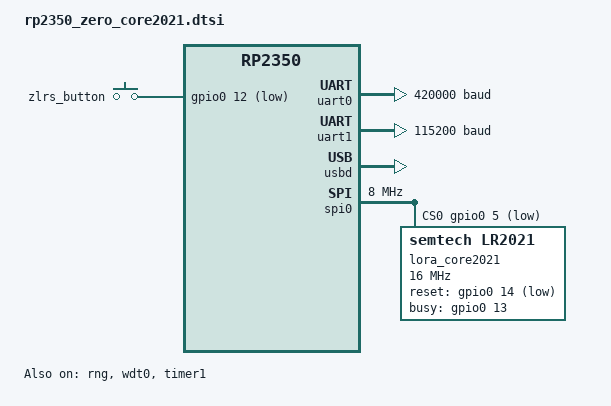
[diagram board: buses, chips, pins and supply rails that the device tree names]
/*
 * Board definition for the Waveshare RP2350-Zero (RP2350A, 4 MB flash) plus the Waveshare
 * Core2021 (LR2021). Wiring and part choices: README.md in this directory.
 *
 * SPDX-License-Identifier: Apache-2.0
 */

#include <freq.h>

#include <zephyr/dt-bindings/dma/rpi-pico-dma-rp2350.h>
#include <zephyr/dt-bindings/gpio/gpio.h>
#include <zephyr/dt-bindings/led/led.h>

#include "rp2350_zero_core2021-pinctrl.dtsi"

/ {
	chosen {
		zephyr,sram = &sram0;
		zephyr,flash = &flash0;
		zephyr,flash-controller = &qmi;
		/* Console off by default: it only exists once the debug overlay enables cdc_acm_uart3 */
		zephyr,console = &cdc_acm_uart3;
		zephyr,shell-uart = &cdc_acm_uart3;
		zephyr,lorawan-transceiver = &lora_core2021;
		/* Entropy comes from the zlrs TRNG driver (bounded waits, no interrupt masking; drivers/entropy) */
		zephyr,entropy = &rng;
		/* Each variant sets zephyr,code-partition itself: code without a bootloader, slot0 with one
		 * (see the partition table in this directory's README) */
	};
	aliases {
		lora-transceiver = &lora_core2021;
		zlrs-control-uart = &uart0;
		zlrs-data-uart = &uart1;
		zlrs-control-cdc = &cdc_acm_uart0;
		zlrs-data-cdc = &cdc_acm_uart1;
		zlrs-mgmt-cdc = &cdc_acm_uart2;
		zlrs-button = &zlrs_button;
		zlrs-led = &zlrs_led;
		led-strip = &zlrs_led;
		watchdog0 = &wdt0;
		zlrs-slot-timer = &timer1;
		/* The vendor USP samples (packet_error_rate_flrc and friends) expect this alias */
		smtc-user-button = &zlrs_button;
	};

	buttons {
		compatible = "gpio-keys";

		zlrs_button: zlrs-button {
			gpios = <&gpio0 12 (GPIO_PULL_UP | GPIO_ACTIVE_LOW)>;
		};
	};

};

/*
 * RP2350 TRNG: the SoC's rng@400f0000 node (reg gives the block base) is switched to the zlrs
 * driver. The one in the Zephyr tree that binds `raspberrypi,pico-rng` goes through pico-sdk's
 * interrupt-off busy wait and stops USB, see the header of drivers/entropy/rp2350_trng.c.
 */
&rng {
	compatible = "zlrs,rp2350-trng";
	status = "okay";
};

&gpio0 {
	status = "okay";
};

/*
 * Hardware watchdog (RP2350 wdt0): armed when the application starts and fed from the main
 * loop. A crash or a stuck thread resets the chip, which MCUboot's test/revert turns into a
 * rollback, and with nothing left to boot it stops in serial recovery: no BOOTSEL needed.
 * See doc/08-firmware.md 6.
 */
&wdt0 {
	status = "okay";
};

/* CRSF: GP0 = TX / GP1 = RX, to the handset or flight controller; 420000 is CRSF's baud rate */
&uart0 {
	status = "okay";
	current-speed = <420000>;
	pinctrl-0 = <&uart0_default>;
	pinctrl-names = "default";
};

/* Data port: passthrough, GP8 = TX / GP9 = RX */
&uart1 {
	status = "okay";
	current-speed = <115200>;
	pinctrl-0 = <&zlrs_uart1_default>;
	pinctrl-names = "default";
};

/* RP2350 hardware TRNG feeding the CSPRNG */
&rng {
	status = "okay";
};

/* DMA channels: SPI0 TX/RX = 0/1, status LED TX = 2. */
&dma {
	status = "okay";
};

/*
 * The on-board WS2812B (GP16, one pixel) is the status LED, see doc/11-ux.md: driven through
 * PIO0, wired the same way as upstream waveshare/rp2350_zero.
 */
&pio0 {
	status = "okay";

	pio-ws2812 {
		compatible = "worldsemi,ws2812-rpi_pico-pio";
		status = "okay";
		pinctrl-0 = <&ws2812_pio0_default>;
		pinctrl-names = "default";
		bit-waveform = <3>, <3>, <4>;

		zlrs_led: ws2812 {
			status = "okay";
			gpios = <&gpio0 16 GPIO_ACTIVE_HIGH>;
			chain-length = <1>;
			dmas = <&dma 2 RPI_PICO_DMA_SLOT_PIO0_TX0 0>;
			dma-names = "tx";
			/*
			 * The WS2812B's physical byte order is GRB, so declare it the way the part expects, or red and
			 * green swap (measured: red shows green, blue shows purple). Upstream waveshare rp2350_zero
			 * writes RGB and falls into the same trap.
			 */
			color-mapping = <LED_COLOR_ID_GREEN
					 LED_COLOR_ID_RED
					 LED_COLOR_ID_BLUE>;
			reset-delay = <280>;
			frequency = <DT_FREQ_K(800)>;
		};
	};
};

/*
 * The CDCs on USB (doc/08-firmware.md 1):
 *   cdc_acm_uart0 = CRSF (alias zlrs-control-cdc)
 *   cdc_acm_uart1 = data port (alias zlrs-data-cdc)
 *   cdc_acm_uart2 = management port (alias zlrs-mgmt-cdc): management protocol, enter management mode
 *   cdc_acm_uart3 = console (kernel log + shell): off by default, the debug overlay enables it
 *
 * The first two are the links' USB endpoints and compete with their UARTs (app/src/ports/serial.c);
 * the management port and console exist on USB only.
 */
zephyr_udc0: &usbd {
	status = "okay";

	cdc_acm_uart0: cdc_acm_uart0 {
		compatible = "zephyr,cdc-acm-uart";
		label = "zlrs CONTROL";
	};

	cdc_acm_uart1: cdc_acm_uart1 {
		compatible = "zephyr,cdc-acm-uart";
		label = "zlrs DATA";
	};

	cdc_acm_uart2: cdc_acm_uart2 {
		compatible = "zephyr,cdc-acm-uart";
		label = "zlrs CONFIG";
	};

	cdc_acm_uart3: cdc_acm_uart3 {
		compatible = "zephyr,cdc-acm-uart";
		label = "zlrs CONSOLE";
		status = "disabled";
	};
};

/* 4 MB QSPI flash. The layout is not in the common dtsi: each variant's dts includes
 * rp2350_zero_core2021_partitions.dtsi, which is the flash map the application and the bootloader
 * are both built with (see the README). */
&flash0 {
	reg = <0x10000000 DT_SIZE_M(4)>;
};

&spi0 {
	status = "okay";
	dmas = <&dma 0 RPI_PICO_DMA_SLOT_SPI0_TX 0>,
	       <&dma 1 RPI_PICO_DMA_SLOT_SPI0_RX 0>;
	dma-names = "tx", "rx";
	clock-frequency = <DT_FREQ_M(8)>;
	pinctrl-0 = <&zlrs_spi0_default>;
	pinctrl-names = "default";
	cs-gpios = <&gpio0 5 GPIO_ACTIVE_LOW>;

	lora_core2021: lora@0 {
		reg = <0>;
		compatible = "semtech,lr2021";
		spi-max-frequency = <DT_FREQ_M(16)>;

		// Board-specific offset
		tx-power-offset = <0>;

		// RX boost offset, from 0 (no RX boost) to 7 (max RX boost)
		rx-boost-cfg = <7>;

		/* Control lines sit on GP13-GP15: GP16 drives the on-board WS2812 and wiring above it is awkward */
		reset-gpios = <&gpio0 14 GPIO_ACTIVE_LOW>; // NRESET

		busy-gpios = <&gpio0 13 (GPIO_ACTIVE_HIGH | GPIO_PULL_UP)>; // BUSY

		reg-mode = <0x02 /* LR20XX_REG_MODE_DCDC */>;

		lf-clk = <0x00 /* LR20XX_SYSTEM_LFCLK_RC */>;

		/*
		 * 0 = the driver leaves the radio in XTAL mode, which is what the vendor's own LR20xx boards
		 * use. A real TCXO wakeup time here is not free: the RAC sleeps the radio between
		 * transactions, so every transaction would wait out the TCXO startup, and at a millisecond
		 * slot budget that aborts every send (measured: the link stopped transmitting entirely).
		 */
		tcxo-voltage = <0x02 /* LR20XX_SYSTEM_TCXO_CTRL_1_8V */>;
		tcxo-wakeup-time = <0>;

		// Radio output power setting tables
		/* half_power, pa_lf_duty_cycle, pa_lf_slices */



		tx-power-cfg-hf =
		/* half_power, pa_duty_cycle, pa_hp_sel */
		/* meas @2445MHz */
		<(-39) 29   0x07>, /* Expected output power = -17dBm */
		<(-39) 16   0x07>, /* Expected output power = -16dBm */
		<(-35) 19   0x07>, /* Expected output power = -15dBm */
		<(-32) 19   0x07>, /* Expected output power = -14dBm */
		<(-29) 19   0x07>, /* Expected output power = -13dBm */
		<(-27) 16   0x07>, /* Expected output power = -12dBm */
		<(-24) 17   0x07>, /* Expected output power = -11dBm */
		<(-22) 16   0x07>, /* Expected output power = -10dBm */
		<(-19) 18   0x07>, /* Expected output power = -9dBm */
		<(-17) 16   0x07>, /* Expected output power = -8dBm */
		<(-14) 21   0x07>, /* Expected output power = -7dBm */
		<(-12) 18   0x07>, /* Expected output power = -6dBm */
		<( -7) 30   0x07>, /* Expected output power = -5dBm */
		<( -8) 16   0x07>, /* Expected output power = -4dBm */
		<( -5) 24   0x07>, /* Expected output power = -3dBm */
		<( -2) 27   0x07>, /* Expected output power = -2dBm */
		<(  1) 29   0x07>, /* Expected output power = -1dBm */
		<(  4) 30   0x07>, /* Expected output power = 0dBm */
		<(  6) 30   0x07>, /* Expected output power = 1dBm */
		<(  7) 28   0x07>, /* Expected output power = 2dBm */
		<(  8) 25   0x07>, /* Expected output power = 3dBm */
		<( 10) 25   0x07>, /* Expected output power = 4dBm */
		<( 15) 31   0x07>, /* Expected output power = 5dBm */
		<( 16) 30   0x07>, /* Expected output power = 6dBm */
		<( 18) 30   0x07>, /* Expected output power = 7dBm */
		<( 21) 31   0x07>, /* Expected output power = 8dBm */
		<( 22) 30   0x07>, /* Expected output power = 9dBm */
		<( 24) 30   0x07>, /* Expected output power = 10dBm */
		<( 24) 26   0x07>, /* Expected output power = 11dBm */
		<( 24) 16   0x07>; /* Expected output power = 12dBm */

		// Power consumptions tables
		// DC/DC mode, LF path



		// LDO mode, LF path, NOT MEASed
		tx-dbm-to-ua-reg-mode-ldo-lf-vreg = <
		1000  /* -10 dBm */
		1000  /*  -9 dBm */
		1000  /*  -8 dBm */
		1000  /*  -7 dBm */
		1000  /*  -6 dBm */
		1000  /*  -5 dBm */
		1000  /*  -4 dBm */
		1000  /*  -3 dBm */
		1000  /*  -2 dBm */
		1000  /*  -1 dBm */
		1000  /*   0 dBm */
		1000  /*   1 dBm */
		1000  /*   2 dBm */
		1000  /*   3 dBm */
		1000  /*   4 dBm */
		1000  /*   5 dBm */
		1000  /*   6 dBm */
		1000  /*   7 dBm */
		1000  /*   8 dBm */
		1000  /*   9 dBm */
		1000  /*  10 dBm */
		1000  /*  11 dBm */
		1000  /*  12 dBm */
		1000  /*  13 dBm */
		1000  /*  14 dBm */
		1000  /*  15 dBm */
		1000  /*  16 dBm */
		1000  /*  17 dBm */
		1000  /*  18 dBm */
		1000  /*  19 dBm */
		1000  /*  20 dBm */
		1000  /*  21 dBm */
		1000  /*  22 dBm */
		>;

		// DC/DC mode, HF path, meas @2445MHz
		tx-dbm-to-ua-reg-mode-dcdc-hf-vreg = <
		8625   /* -17 dBm */
		8783   /* -16 dBm */
		8874   /* -15 dBm */
		8998   /* -14 dBm */
		9145   /* -13 dBm */
		9289   /* -12 dBm */
		9481   /* -11 dBm */
		9646   /* -10 dBm */
		9840   /* -9 dBm */
		10073  /* -8 dBm */
		10280  /* -7 dBm */
		10597  /* -6 dBm */
		10511  /* -5 dBm */
		11200  /* -4 dBm */
		11391  /* -3 dBm */
		11630  /* -2 dBm */
		11360  /* -1 dBm */
		11635  /*  0 dBm */
		11986  /*  1 dBm */
		12670  /*  2 dBm */
		13292  /*  3 dBm */
		13859  /*  4 dBm */
		13685  /*  5 dBm */
		14629  /*  6 dBm */
		15388  /*  7 dBm */
		15804  /*  8 dBm */
		17270  /*  9 dBm */
		18943  /* 10 dBm */
		21041  /* 11 dBm */
		22524  /* 12 dBm */
		>;

		// RX LoRa tables
		// Measured @LR20XX_RADIO_COMMON_RX_PATH_BOOST_MODE_NONE
		rx-bw-to-ua-reg-mode-dcdc-lf-vreg = <
		5700  /* RAL_LORA_BW_125_KHZ */
		5790  /* RAL_LORA_BW_250_KHZ */
		6320  /* RAL_LORA_BW_400_KHZ */
		6140  /* RAL_LORA_BW_500_KHZ */
		6840  /* RAL_LORA_BW_800_KHZ */
		6600  /* RAL_LORA_BW_1000_KHZ */
		>;

		rx-bw-to-ua-reg-mode-dcdc-hf-vreg = <
		6400  /* RAL_LORA_BW_125_KHZ */
		6510  /* RAL_LORA_BW_250_KHZ */
		7040  /* RAL_LORA_BW_400_KHZ */
		6860  /* RAL_LORA_BW_500_KHZ */
		6880  /* RAL_LORA_BW_800_KHZ */
		7350  /* RAL_LORA_BW_1000_KHZ */
		>;

		// Measured @LR20XX_RADIO_COMMON_RX_PATH_BOOST_MODE_7
		rx-bw-to-ua-reg-mode-dcdc-lf-vreg-boosted = <
		6920  /* RAL_LORA_BW_125_KHZ */
		6990  /* RAL_LORA_BW_250_KHZ */
		7530  /* RAL_LORA_BW_400_KHZ */
		7370  /* RAL_LORA_BW_500_KHZ */
		8160  /* RAL_LORA_BW_800_KHZ */
		7820  /* RAL_LORA_BW_1000_KHZ */
		>;

		rx-bw-to-ua-reg-mode-dcdc-hf-vreg-boosted = <
		6740  /* RAL_LORA_BW_125_KHZ */
		6850  /* RAL_LORA_BW_250_KHZ */
		7130  /* RAL_LORA_BW_400_KHZ */
		7180  /* RAL_LORA_BW_500_KHZ */
		8010  /* RAL_LORA_BW_800_KHZ */
		7690  /* RAL_LORA_BW_1000_KHZ */
		>;

		rx-bw-to-ua-reg-mode-ldo-lf-vreg = <
		9420   /* RAL_LORA_BW_125_KHZ */
		9580   /* RAL_LORA_BW_250_KHZ */
		10580  /* RAL_LORA_BW_400_KHZ */
		10240  /* RAL_LORA_BW_500_KHZ */
		11770  /* RAL_LORA_BW_800_KHZ */
		11130  /* RAL_LORA_BW_1000_KHZ */
		>;

		rx-bw-to-ua-reg-mode-ldo-hf-vreg = <
		10760  /* RAL_LORA_BW_125_KHZ */
		10890  /* RAL_LORA_BW_250_KHZ */
		11870  /* RAL_LORA_BW_400_KHZ */
		11640  /* RAL_LORA_BW_500_KHZ */
		13130  /* RAL_LORA_BW_800_KHZ */
		12500  /* RAL_LORA_BW_1000_KHZ */
		>;

		rx-bw-to-ua-reg-mode-ldo-lf-vreg-boosted = <
		11670  /* RAL_LORA_BW_125_KHZ */
		11710  /* RAL_LORA_BW_250_KHZ */
		12880  /* RAL_LORA_BW_400_KHZ */
		12560  /* RAL_LORA_BW_500_KHZ */
		14090  /* RAL_LORA_BW_800_KHZ */
		13500  /* RAL_LORA_BW_1000_KHZ */
		>;

		rx-bw-to-ua-reg-mode-ldo-hf-vreg-boosted = <
		11410  /* RAL_LORA_BW_125_KHZ */
		11570  /* RAL_LORA_BW_250_KHZ */
		12590  /* RAL_LORA_BW_400_KHZ */
		12280  /* RAL_LORA_BW_500_KHZ */
		13720  /* RAL_LORA_BW_800_KHZ */
		13180  /* RAL_LORA_BW_1000_KHZ */
		>;


		dios {
			compatible = "semtech,lr20xx-dios";
			#address-cells = <1>;
			#size-cells = <0>;
			dio@8 {
				reg = <8>;
				function = <0x01 /* LR20XX_SYSTEM_DIO_FUNC_IRQ */>;
				dio-gpios = <&gpio0 15 (GPIO_ACTIVE_HIGH | GPIO_PULL_DOWN)>; // DIO8
				irq-mask = <0xffff07ff /* LR20XX_SYSTEM_IRQ_ALL_MASK */>;
			};
		};
	};
};

/* TIMER1 is dedicated to radio slot boundaries; SysTick remains the kernel clock. */
&timer1 {
	interrupts = <4 0>, <5 0>, <6 0>, <7 0>;
	compatible = "zlrs,rp2350-slot-timer";
	status = "okay";
};

/* Timestamp radio GPIO events ahead of USB traffic. */
&gpio0_map {
	interrupts = <21 1>;
};
